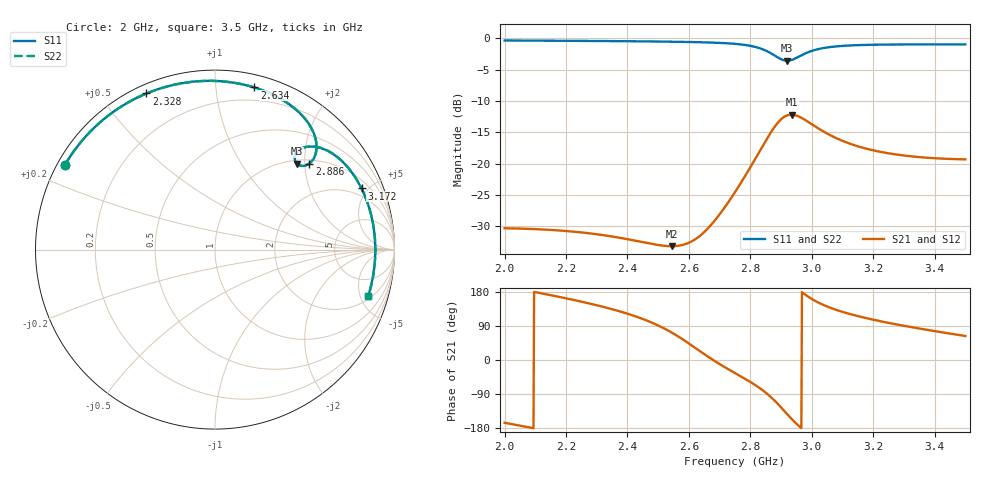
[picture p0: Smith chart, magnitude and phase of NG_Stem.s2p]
! Touchstone file exported from HFSS 2022.1.0
!  File:  C:/Users/Hamza Safder/Downloads/PSF-V2 with holder.aedt
!  Generated:  5:43:15 PM  Sep 29, 2023
!  Design:  HFSSDesign1
!  Project:  PSF-V2 with holder
!  Setup:  Setup1
!  Solution:  Sweep
! Variables:
!  WS = 5mm
!  ax = 15mm
!  az = 3.18mm
!  azd = 3mm
!  bx = 13mm
!  bx2 = 12.5mm
!  bx3 = 3.16mm
!  cin = 27.8mm
!  gap = 0.7mm
!  mid = 3mm
!  shift = 21.24mm
!  strip_1L = 18.62mm
!  substrate_L = 80mm
!  substrate_W = 70mm
!  t = 3mm
!  w50 = 9.18mm
!  wt = 1mm
!  xs = 0.8mm
!  zzz = 8mm
# GHz S MA R 50.000000
! Terminal data exported
! Port[1] = ground_T1
! Port[2] = ground_T2
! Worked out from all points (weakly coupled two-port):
!   751 points, 2 GHz to 3.5 GHz, reference 50 ohm
!   highest |S21| = -12.18 dB at 2.934 GHz (marker M1); lowest = -33.1 dB at 2.544 GHz (marker M2)
!   lowest |S11| = -3.6 dB at 2.92 GHz (marker M3), VSWR 4.91, Z = 53.7 + j91.3 ohm
!   |S11| at or under -10 dB: nowhere
!   |S22| runs from -3.6 to -0.4 dB; largest |S21 - S12| = 3.9e-15
!   S11 on the Smith chart (normalised r, x): 2 GHz: 0.02, +0.26; 2.328 GHz: 0.04, +0.65; 2.634 GHz: 0.10, +1.27; 2.886 GHz: 1.09, +2.11; 3.172 GHz: 1.46, +4.55; 3.5 GHz: 2.34, -5.89
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2  0.9601 150.7  0.03059 -165.7  0.03059 -165.7  0.9601 150.7
! Gamma 0 0 0 0
! Port Impedance 50 0 50 0
2.12  0.9569 137.4  0.02995 175.9  0.02995 175.9  0.9568 137.4
2.25  0.9529 122.7  0.02834 154.0  0.02834 154.0  0.9527 122.7
2.328  0.95 113.7  0.02681 138.8  0.02681 138.8  0.9498 113.7
2.5  0.9416 93.2  0.0225 91.1  0.0225 91.1  0.9413 93.2
2.544  0.9385 87.8  0.02202 72.4  0.02202 72.4  0.9383 87.8
2.592  0.9344 81.7  0.02303 47.9  0.02303 47.9  0.9341 81.8
2.634  0.9297 76.3  0.0264 24.4  0.0264 24.4  0.9294 76.3
2.686  0.9213 69.4  0.0357 -3.7  0.0357 -3.7  0.9209 69.4
2.75  0.9021 60.2  0.05932 -34.5  0.05932 -34.5  0.9016 60.3
2.832  0.8305 47.4  0.128 -75.1  0.128 -75.1  0.8297 47.5
2.86  0.7757 43.6  0.1673 -92.9  0.1673 -92.9  0.7748 43.7
2.886  0.7109 42.3  0.2073 -113.0  0.2073 -113.0  0.7101 42.5
2.92  0.6613 46.3  0.2429 -143.0  0.2429 -143.0  0.6611 46.4
2.934  0.6705 48.4  0.246 -155.3  0.246 -155.3  0.6705 48.6
2.96  0.7181 49.8  0.2363 -175.5  0.2363 -175.5  0.7185 50.0
3  0.7926 46.4  0.2064 161.0  0.2064 161.0  0.7932 46.5
3.082  0.8622 34.8  0.1589 131.7  0.1589 131.7  0.8626 34.9
3.172  0.8844 22.6  0.1329 111.5  0.1329 111.5  0.8848 22.7
3.25  0.8908 12.8  0.121 97.9  0.121 97.9  0.8912 12.9
3.37  0.8932 -1.7  0.1119 80.3  0.1119 80.3  0.8936 -1.6
3.5  0.8922 -16.7  0.1083 63.3  0.1083 63.3  0.8926 -16.6
